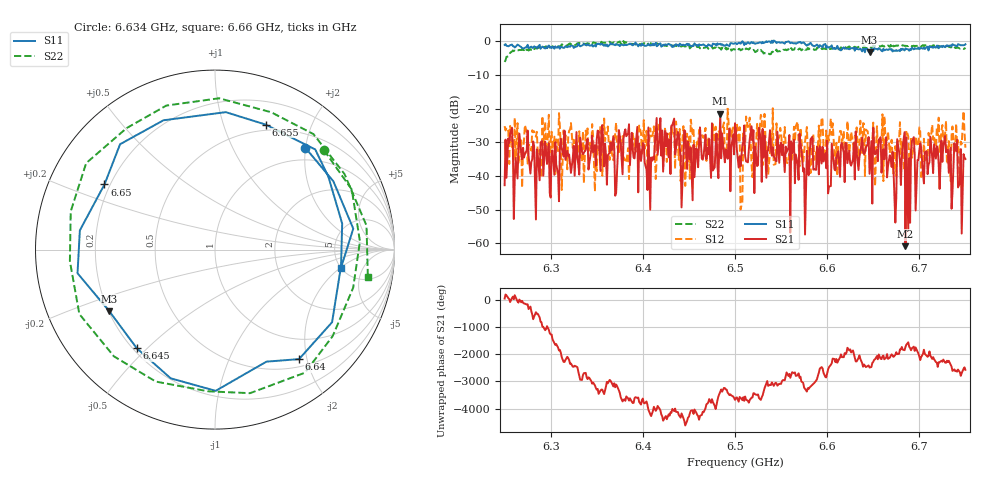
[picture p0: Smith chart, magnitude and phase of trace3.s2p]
# Hz S RI R 50
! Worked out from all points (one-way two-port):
!   401 points, 6.25 GHz to 6.75 GHz, reference 50 ohm
!   highest |S21| = -21.53 dB at 6.484 GHz (marker M1); lowest = -60.9 dB at 6.685 GHz (marker M2)
!   lowest |S11| = -3.3 dB at 6.646 GHz (marker M3), VSWR 5.28, Z = 10.1 - j13 ohm
!   |S11| at or under -10 dB: nowhere
!   |S22| runs from -6.1 to 0.1 dB; largest |S21 - S12| = 0.12
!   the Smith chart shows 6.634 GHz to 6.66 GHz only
!   S11 on the Smith chart (normalised r, x): 6.634 GHz: 0.75, +2.00; 6.64 GHz: 0.62, -1.86; 6.645 GHz: 0.21, -0.47; 6.65 GHz: 0.18, +0.26; 6.655 GHz: 0.44, +1.39; 6.66 GHz: 5.02, -2.04
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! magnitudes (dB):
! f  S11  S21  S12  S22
! 6.25 GHz  -1.1  -42.8  -25.2  -6.1
! 6.256 GHz  -1.1  -27.6  -25.2  -3.4
! 6.261 GHz  -1.8  -41.0  -22.7  -2.8
! 6.334 GHz  -1.3  -32.9  -35.6  -0.7
! 6.382 GHz  -1.2  -28.2  -36.1  -0.4
! 6.405 GHz  -1.1  -44.2  -38.6  -0.5
! 6.418 GHz  -0.8  -29.1  -24.7  -0.9
! 6.484 GHz  -0.7  -21.5  -27.5  -2.1
! 6.5 GHz  -0.5  -24.4  -25.1  -2.5
! 6.509 GHz  -0.4  -29.9  -26.8  -2.0
! 6.514 GHz  -0.3  -36.0  -25.5  -2.3
! 6.584 GHz  -1.2  -28.4  -29.9  -2.1
! 6.634 GHz  -2.4  -38.3  -37.2  -1.7
! 6.64 GHz  -2.3  -33.5  -24.5  -1.4
! 6.645 GHz  -3.1  -28.5  -29.8  -1.7
! 6.646 GHz  -3.3  -39.4  -34.7  -1.5
! 6.65 GHz  -2.9  -25.7  -24.2  -1.3
! 6.655 GHz  -2.5  -35.6  -31.5  -1.7
! 6.66 GHz  -3.0  -34.5  -21.7  -1.3
! 6.668 GHz  -2.3  -33.9  -33.2  -1.7
! 6.685 GHz  -2.1  -60.9  -28.5  -1.4
! 6.75 GHz  -0.9  -35.0  -31.6  -1.9
